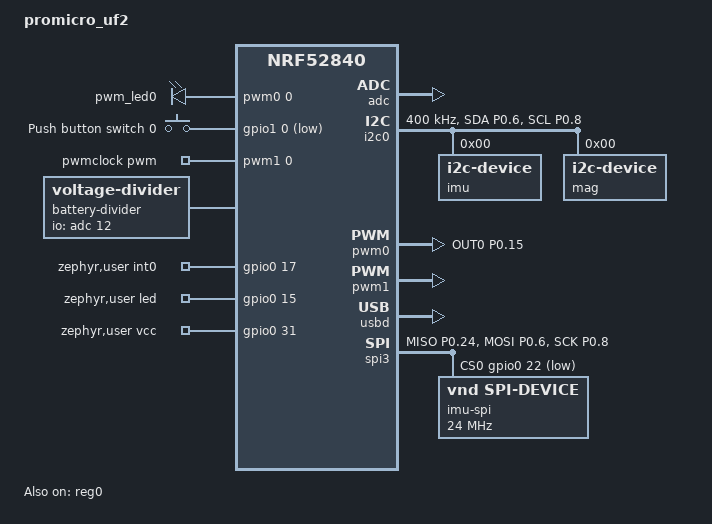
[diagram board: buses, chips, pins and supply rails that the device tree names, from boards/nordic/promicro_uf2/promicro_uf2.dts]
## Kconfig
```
#
# Copyright (c) 2023 Nordic Semiconductor
#
# SPDX-License-Identifier: LicenseRef-Nordic-5-Clause
#

config USE_SLIMENRF_CONSOLE
    bool "Use basic console"
    default y
    help
        Use basic console for commands.

config BATTERY_CHARGER_HAS_NTC
    bool "Battery thermistor"
    help
      Flag for battery NTC thermistor availability.

choice
    prompt "Battery voltage mapping"
    default BATTERY_NO_MAPPING

config BATTERY_USE_REG_BUCK_MAPPING
    bool "Use buck regulator mapping (3.7V battery, DCDC)"
    help
      Use a constant power mapping for battery voltage.
      Preffered for systems with a buck regulator.
      Measured at a system voltage of 3.0V.

config BATTERY_USE_REG_LDO_MAPPING
    bool "Use LDO linear regulator mapping (3.7V battery, LDO)"
    help
      Use a constant current mapping for battery voltage.
      Preferred for systems with a linear regulator.

config BATTERY_NO_MAPPING
    bool "Disable battery voltage mapping"
    help
      Always map to 100% battery. Disables battery monitoring.

endchoice

config BATTERY_LOW_RUNTIME_THRESHOLD
    int "Low battery runtime threshold (ms)"
    default 10800000
    help
      Trigger low battery when estimated runtime falls below threshold.
      If estimated runtime is not available, low battery will trigger under 10% estimated state of charge.

choice
    prompt "Status LED color mapping"
    default LED_TRI_COLOR

config LED_RGB_COLOR
    bool "Use RGB color mapping"
    help
        Use RGB or RG color mapping for LED status if available.

config LED_TRI_COLOR
    bool "Use default color mapping"
    help
        Use the default color mapping for LED status.

endchoice

menu "Status LED default status color"
    depends on LED_RGB_COLOR

config LED_DEFAULT_COLOR_R
    int "Red value"
    range 0 10000
    default 4000
    depends on LED_RGB_COLOR
    help
        Red color for default status.
        Valid range is 0 to 10000.

config LED_DEFAULT_COLOR_G
    int "Green value"
    range 0 10000
    default 6000
    depends on LED_RGB_COLOR
    help
        Green color for default status.
        Valid range is 0 to 10000.

config LED_DEFAULT_COLOR_B
    int "Blue value"
    range 0 10000
    default 0
    depends on LED_RGB_COLOR
    help
        Blue color for default status.
        Valid range is 0 to 10000.

endmenu

config USER_EXTRA_ACTIONS
    bool "Multiple press actions"
    help
        Allow user to use multiple presses to calibrate, pair, or enter DFU.
        By default, pairing is available when holding down sw0 for 5 seconds.
        By default, DFU is available when holding down sw0 and plugging in a USB cable.

config IGNORE_RESET
    bool "Ignore reset"
    default y
    help
        If sw0 is available, don't perform any extra actions on reset.

config USER_SHUTDOWN
    bool "User shutdown support"
    default y
    help
        Allow user to use reset or sw0 to shutdown.

config USE_IMU_WAKE_UP
    bool "IMU wake up support"
    default y
    help
        Use IMU wake up state if IMU wake up is present.

config DELAY_SLEEP_ON_STATUS
    bool "Delay IMU wake up mode on status flags"
    default y
    depends on USE_IMU_WAKE_UP
    help
        Delay IMU wake up state if there is an active status flag or in pairing mode.

config WOM_USE_DCDC
    bool "Use DCDC in IMU wake up mode"
    depends on USE_IMU_WAKE_UP
    help
        Use DCDC instead of LDO in IMU wake up state if it is more efficient.

config CONNECTION_TIMEOUT_DELAY
    int "Connection timeout delay (ms)"
    default 300000
    depends on USER_SHUTDOWN
    help
        Connection timeout duration when receiver is not detected.

choice
    prompt "Sensor rotation"
    default SENSOR_ROTATION_90

config SENSOR_ROTATION_0
    bool "0 degrees"

config SENSOR_ROTATION_90
    bool "90 degrees"

config SENSOR_ROTATION_180
    bool "180 degrees"

config SENSOR_ROTATION_270
    bool "270 degrees"

config SENSOR_ROTATION_0_FLIPPED
    bool "0 degrees flipped"

config SENSOR_ROTATION_90_FLIPPED
    bool "90 degrees flipped"

config SENSOR_ROTATION_180_FLIPPED
    bool "180 degrees flipped"

config SENSOR_ROTATION_270_FLIPPED
    bool "270 degrees flipped"

endchoice

menu "Sensor power saving"

config SENSOR_LP_TIMEOUT
    int "Sensor low power delay (ms)"
    default 500
    help
        Low power timeout during no motion.

config SENSOR_USE_LOW_POWER_2
    bool "Use additional low power modes"
    help
        Use a higher latency sensor mode during no motion.

config USE_IMU_TIMEOUT
    bool "Use IMU wake up state"
    default y
    depends on USE_IMU_WAKE_UP
    help
        Use IMU wake up state during no motion.

config IMU_TIMEOUT_RAMP_MIN
    int "Sensor timeout minimum delay (ms)"
    default 5000
    depends on USE_IMU_TIMEOUT || SENSOR_USE_LOW_POWER_2
    help
        Minimum timeout during no motion. Initial period on wake up.

config IMU_TIMEOUT_RAMP_MAX
    int "Sensor timeout maximum delay (ms)"
    default 15000
    depends on USE_IMU_TIMEOUT || SENSOR_USE_LOW_POWER_2
    help
        Maximum timeout during no motion.

config USE_ACTIVE_TIMEOUT
    bool "Use activity timeout"
    default y
    depends on USE_IMU_WAKE_UP || USER_SHUTDOWN
    help
        Delay IMU wake up state or user shutdown during activity.

choice
    prompt "Activity timeout mode"
    default SLEEP_ON_ACTIVE_TIMEOUT
    depends on USE_ACTIVE_TIMEOUT

config SLEEP_ON_ACTIVE_TIMEOUT
    bool "IMU wake up"
    depends on USE_IMU_WAKE_UP
    help
        Use IMU wake up state when activity timeout elapses.

config SHUTDOWN_ON_ACTIVE_TIMEOUT
    bool "User shutdown"
    depends on USER_SHUTDOWN
    help
        Use user shutdown when activity timeout elapses.

endchoice

config ACTIVE_TIMEOUT_THRESHOLD
    int "Activity timeout threshold (ms)"
    default 15000
    depends on USE_ACTIVE_TIMEOUT
    help
        Trigger activity timeout after a certain threshold of activity.

config ACTIVE_TIMEOUT_DELAY
    int "Activity timeout delay (ms)"
    default 900000
    depends on USE_ACTIVE_TIMEOUT
    help
        Activity timeout duration when triggered.

endmenu

config SENSOR_ACCEL_ODR
    int "Accelerometer output data rate (Hz)"
    default 100
    help
        Requested accelerometer output data rate. Actual rate will be raised to the nearest supported rate.
        A higher rate will increase the time to read and process sensor data.

config SENSOR_GYRO_ODR
    int "Gyrometer output data rate (Hz)"
    default 200
    help
        Requested gyrometer output data rate. Actual rate will be raised to the nearest supported rate.
        A higher rate will increase the time to read and process sensor data.
        A lower rate is recommended for IMUs with poor gyrometer rate noise density. (e.g. BMI270, LSM6DS3TR-C)

config SENSOR_ACCEL_FS
    int "Accelerometer full scale (g)"
    default 4
    help
        Requested accelerometer full scale. Actual scale will be raised to the nearest supported scale.
        A lower scale may improve noise performance, but is more likely to saturate.

config SENSOR_GYRO_FS
    int "Gyrometer full scale (dps)"
    default 1000
    help
        Requested gyrometer full scale. Actual scale will be raised to the nearest supported scale.
        A lower scale may improve noise performance, but is more likely to saturate.

config SENSOR_USE_MAG
    bool "Magnetometer support"
    default y
    help
        Use magnetometer if it is present.

config USE_SENSOR_CLOCK
    bool "Use external IMU clock"
    default y
    help
        Use external IMU clock if it is present.

choice
    prompt "Sensor fusion"
    default SENSOR_USE_VQF
    help
        Select the sensor fusion method.

config SENSOR_USE_VQF
    bool "Use VQF"
    help
        Use VQF for sensor fusion.
        Based on Kalman filter.

endchoice

config SENSOR_USE_6_SIDE_CALIBRATION
    bool "Use 6-side calibration"
    default y
    depends on USE_SLIMENRF_CONSOLE
    help
        Use 6-side calibration for accelerometer.
        Calibration can be completed through the basic console.

config RADIO_TX_POWER
    int "Radio output power (dBm)"
    default 8
    help
        Radio output power level.
        A lower value may reduce power consumption.

config RADIO_1MBPS
    bool "Default for the radio_1mbps setting"
    help
        Send at 1 Mbps instead of 2 Mbps: about 3 dB more range, twice the
        airtime per frame. The receiver must use the same rate ("radio 1m" on
        its console). Change it on a tracker with "write_config radio_1mbps 1"
        and "reboot".

config CONNECTION_OVER_HID
    bool "Use HID for data output"
    help
        Use HID if available.
        Otherwise, use ESB only.

config CONNECTION_OVER_UART
    bool "Default for the connection_over_uart setting (wired chain)"
    help
        Older form of wired_mode, used only while wired_mode is -1: on is
        "in left out right" (wired chain, radio off), off is "in left" (radio
        relay of a wired tracker plugged into the left header). Prefer the
        "mode" console command.

DT_CHOSEN_WIRED_LEFT_UART := slimenrf,wired-left-uart
DT_CHOSEN_WIRED_RIGHT_UART := slimenrf,wired-right-uart

config LOG_MODES
    bool "DEBUG and TRACE console modes"
    default y
    select LOG_RUNTIME_FILTERING
    help
        Console commands "debug" and "trace". The firmware's modules are
        compiled with debug messages, kept at INFO until "debug on".
        "trace" logs every frame handed to the radio, cable or USB, decoded.

config LOG_MODES_DEBUG_DEFAULT
    bool "Start with DEBUG on"
    depends on LOG_MODES

menu "Wired ankle link"

config WIRED_LINK
    bool "Wired link between trackers (roles from the wired_mode setting)"
    depends on $(dt_chosen_enabled,$(DT_CHOSEN_WIRED_LEFT_UART))
    depends on $(dt_chosen_enabled,$(DT_CHOSEN_WIRED_RIGHT_UART))
    select SERIAL
    select UART_ASYNC_API
    select GPIO
    help
        Two headers, "slimenrf,wired-left-uart" and "slimenrf,wired-right-uart",
        each an input, an output or unused (wired_mode, "mode" on the console).
        Both UARTs use zephyr,deferred-init and receive by default; an output
        header gets the "wired-left/right-tx-default/sleep" pin states from zephyr,user.
        With an output the radio stays off and everything goes upstream on the
        wire; without one, frames from the inputs are stamped with their
        receiver ids and sent over ESB with the tracker's own.

config WIRED_MODE
    int "Default for the wired_mode setting"
    depends on WIRED_LINK
    range -1 31
    default -1
    help
        Bits: 1 in left, 2 in right, 4 out left, 8 out right, 16 hub; 0
        wireless, 19 hub (both in, radio receives, output to the ESP32).
        -1 follows the older connection_over_uart setting: on = in left out
        right (wired chain), off = in left (radio relay). Set it on a tracker
        with "mode", e.g. "mode wired in left out right".

config DEBUG_NO_POWER_SAVING
    bool "Debug: no power saving"
    help
        For debugging the link: the tracker never lowers its IMU rate, never
        sleeps or shuts down when lying still or when the receiver does not
        answer, and keeps the radio's HF clock running between frames.
        The low battery shutdown and the button shutdown stay. Built by
        "make tracker-nosleep"; flash the normal image to undo.

config WIRED_RELAY_IDLE_MS
    int "Relay: stop listening after this long without valid frames (ms)"
    depends on WIRED_LINK
    default 1000

config WIRED_RELAY_OWN_RATE_DIVIDER
    int "Relay: while relaying, send only every Nth own data frame"
    depends on WIRED_LINK
    range 1 4
    default 1
    help
        Airtime fallback: 2 halves the relay's own data rate while it relays.

config WIRED_ANKLE_TABLE_SIZE
    int "Relay: number of wired tracker addresses remembered"
    depends on WIRED_LINK
    range 1 8
    default 8

endmenu

source "Kconfig.zephyr"
```

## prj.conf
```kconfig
#CONFIG_NCS_SAMPLES_DEFAULTS
CONFIG_ASSERT=y
CONFIG_ASSERT_NO_COND_INFO=y
CONFIG_ASSERT_NO_MSG_INFO=y
# src/system/crash.c records the crash in retained RAM and resets instead
CONFIG_RESET_ON_FATAL_ERROR=n

CONFIG_NCS_APPLICATION_BOOT_BANNER_STRING="SlimeVR-Tracker-nRF"
#CONFIG_NCS_BOOT_BANNER=n
CONFIG_BOOT_BANNER=n

CONFIG_ESB=y
#need to enable for nRF54L
#CONFIG_NRFX_DPPI10=y

CONFIG_ADC=y
CONFIG_ADC_NRFX_SAADC=y
CONFIG_FPU=y
CONFIG_I2C=y
CONFIG_SPI=y
CONFIG_PINCTRL=y
CONFIG_SENSOR=y

CONFIG_CMSIS_DSP=y
CONFIG_CMSIS_DSP_BASICMATH=y
CONFIG_CMSIS_DSP_CONTROLLER=y
CONFIG_CMSIS_DSP_FASTMATH=y
CONFIG_CMSIS_DSP_SUPPORT=y

CONFIG_NVS=y
CONFIG_NVS_LOOKUP_CACHE=y
CONFIG_NVS_INIT_BAD_MEMORY_REGION=y

CONFIG_POWEROFF=y
CONFIG_REBOOT=y

CONFIG_FLASH=y
CONFIG_FLASH_PAGE_LAYOUT=y
CONFIG_FLASH_MAP=y

CONFIG_SETTINGS=y
CONFIG_SETTINGS_RUNTIME=y
CONFIG_SETTINGS_NONE=y

CONFIG_MPU_ALLOW_FLASH_WRITE=y

CONFIG_RETAINED_MEM=y

CONFIG_USE_SEGGER_RTT=y
CONFIG_LOG=y
#CONFIG_PRINTK=y
CONFIG_LOG_MODE_DEFERRED=y
CONFIG_LOG_SPEED=y
CONFIG_LOG_BACKEND_RTT=y
CONFIG_CBPRINTF_FP_SUPPORT=y
CONFIG_ADC_LOG_LEVEL_OFF=y
CONFIG_LOG_FUNC_NAME_PREFIX_ERR=y
CONFIG_LOG_BUFFER_SIZE=1536
CONFIG_LOG_BACKEND_UART_AUTOSTART=n
CONFIG_LOG_PROCESS_THREAD_SLEEP_MS=50
CONFIG_LOG_PROCESS_THREAD_STACK_SIZE=1024

CONFIG_PWM=y
CONFIG_GPIO=y

CONFIG_CRC=y

CONFIG_NEWLIB_LIBC=y
#deprecated?
#CONFIG_NRFX_TIMER1=y

#speed up boot? (use internal rc oscillator)
CONFIG_CLOCK_CONTROL_NRF_K32SRC_RC=y
CONFIG_CLOCK_CONTROL_NRF_K32SRC_RC_CALIBRATION=n
#speed up boot? (synthesize lf clock)
#CONFIG_CLOCK_CONTROL_NRF_K32SRC_SYNTH=y

# dont need it
CONFIG_CRYPTO=n

# set timeout for 25ms, sufficient for ~1000 bytes
CONFIG_I2C_NRFX_TRANSFER_TIMEOUT=25

CONFIG_USB_DEVICE_HID=y
CONFIG_USB_DEVICE_VID=0x1209
CONFIG_USB_DEVICE_PID=0x7692
CONFIG_USB_HID_BOOT_PROTOCOL=y
CONFIG_USB_DEVICE_INITIALIZE_AT_BOOT=n
CONFIG_USB_CDC_ACM=y
CONFIG_UART_INTERRUPT_DRIVEN=y
CONFIG_USB_WORKQUEUE_STACK_SIZE=512

CONFIG_SERIAL=y
CONFIG_CONSOLE=y
CONFIG_RTT_CONSOLE=y
CONFIG_UART_CONSOLE=y
CONFIG_UART_LINE_CTRL=y
# fit "write all <base64:173>"
CONFIG_CONSOLE_INPUT_MAX_LINE_LEN=256

CONFIG_LOG=y
CONFIG_USB_DRIVER_LOG_LEVEL_ERR=y
CONFIG_USB_DEVICE_LOG_LEVEL_ERR=y
CONFIG_USB_CDC_ACM_LOG_LEVEL_OFF=y

CONFIG_LOG_BACKEND_UART=y

CONFIG_CONSOLE_SUBSYS=y
CONFIG_CONSOLE_GETLINE=y

CONFIG_NVS_LOG_LEVEL_WRN=y
CONFIG_USB_HID_LOG_LEVEL_WRN=y

CONFIG_USB_DEVICE_SOF=y
CONFIG_USB_HID_REPORTS=256

#CONFIG_USB_HID_POLL_INTERVAL_MS=1
CONFIG_USB_HID_POLL_INTERVAL_MS=0
CONFIG_HID_INTERRUPT_EP_MPS=64
#CONFIG_ENABLE_HID_INT_OUT_EP=y

CONFIG_SYSTEM_WORKQUEUE_STACK_SIZE=256
CONFIG_MAIN_STACK_SIZE=512
#crashing on nrf54l at 512

CONFIG_THREAD_NAME=y

CONFIG_HEAP_MEM_POOL_SIZE=2048
CONFIG_ISR_STACK_SIZE=1024

CONFIG_PM_DEVICE=y

CONFIG_BASE64=y

#CONFIG_THREAD_ANALYZER=y
#CONFIG_THREAD_ANALYZER_AUTO=y
#CONFIG_THREAD_ANALYZER_AUTO_INTERVAL=5

#about 20KB saved
#CONFIG_LTO=y
#CONFIG_ISR_TABLES_LOCAL_DECLARATION=y
```

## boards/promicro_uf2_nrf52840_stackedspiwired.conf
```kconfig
# Merged after prj.conf for the wired board (promicro_uf2/nrf52840/stackedspiwired).
# The wired link and hub run UART, pairing and logging work on the system workqueue; the
# 256-byte stack from prj.conf overflowed (reset loops at boot).
CONFIG_SYSTEM_WORKQUEUE_STACK_SIZE=1024
```

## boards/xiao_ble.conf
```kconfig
CONFIG_USB_DEVICE_STACK=y
CONFIG_USB_DEVICE_PRODUCT="SlimeNRF Tracker XIAO"

CONFIG_BATTERY_USE_REG_LDO_MAPPING=y
```

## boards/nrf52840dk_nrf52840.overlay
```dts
&pwm0_default {
	group1 {
		psels = <NRF_PSEL(PWM_OUT0, 0, 13)>,
			<NRF_PSEL(PWM_OUT1, 0, 14)>,
			<NRF_PSEL(PWM_OUT2, 0, 15)>;
		nordic,drive-mode = <NRF_DRIVE_D0S1>;
		nordic,invert;
	};
};

&pwm0_sleep {
	group1 {
		psels = <NRF_PSEL(PWM_OUT0, 0, 13)>,
			<NRF_PSEL(PWM_OUT1, 0, 14)>,
			<NRF_PSEL(PWM_OUT2, 0, 15)>;
	};
};

&i2c0_default {
	group1 {
		bias-disable;
	};
};

&i2c0_sleep {
	group1 {
		bias-disable;
	};
};

/ {
	chosen {
		zephyr,console = &cdc_acm_uart0;
		zephyr,shell-uart = &cdc_acm_uart0;
	};

	pwmleds {
		pwm_led1: pwm_led_1 {
			pwms = <&pwm0 1 PWM_MSEC(20) PWM_POLARITY_INVERTED>;
		};
		pwm_led2: pwm_led_2 {
			pwms = <&pwm0 2 PWM_MSEC(20) PWM_POLARITY_INVERTED>;
		};
	};

	battery-divider {
		compatible = "voltage-divider";
		status = "okay";
		io-channels = <&adc 12>; // Measure VDDHDIV5
		output-ohms = <1>;
		full-ohms = <2>;
	};

	aliases {
		pwm-led1 = &pwm_led1;
		pwm-led2 = &pwm_led2;
	};
};

&i2c0 {
	compatible = "nordic,nrf-twim";
	zephyr,concat-buf-size = <1023>;
	zephyr,flash-buf-max-size = <1023>;
	clock-frequency = <I2C_BITRATE_FAST>;

	imu: imu@0 { // any address out of range (00, 7f, etc. will search all addresses and stored address first if available, specify an address here to search first otherwise
		compatible = "i2c-device";
		label = "imu";
		reg = <0>;
	};

	mag: mag@0 {
		compatible = "i2c-device";
		label = "mag";
		reg = <0>;
	};

};

arduino_spi: &spi3 {
	imu_spi: imu_spi@0 {
		compatible = "vnd,spi-device";
		spi-max-frequency = <DT_FREQ_M(32)>;
		label = "imu-spi";
		reg = <0>;
	};
};

zephyr_udc0: &usbd {
	cdc_acm_uart0: cdc_acm_uart0 {
		compatible = "zephyr,cdc-acm-uart";
	};
};
```

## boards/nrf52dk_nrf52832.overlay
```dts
&pwm0_default {
	group1 {
		psels = <NRF_PSEL(PWM_OUT0, 0, 13)>,
			<NRF_PSEL(PWM_OUT1, 0, 14)>,
			<NRF_PSEL(PWM_OUT2, 0, 15)>;
		nordic,drive-mode = <NRF_DRIVE_D0S1>;
		nordic,invert;
	};
};

&pwm0_sleep {
	group1 {
		psels = <NRF_PSEL(PWM_OUT0, 0, 13)>,
			<NRF_PSEL(PWM_OUT1, 0, 14)>,
			<NRF_PSEL(PWM_OUT2, 0, 15)>;
	};
};

/ {
	pwmleds {
		pwm_led1: pwm_led_1 {
			pwms = <&pwm0 1 PWM_MSEC(20) PWM_POLARITY_INVERTED>;
		};
		pwm_led2: pwm_led_2 {
			pwms = <&pwm0 2 PWM_MSEC(20) PWM_POLARITY_INVERTED>;
		};
	};

	battery-divider {
		compatible = "voltage-divider";
		status = "okay";
		io-channels = <&adc 12>; // Measure VDDHDIV5
		output-ohms = <1>;
		full-ohms = <2>;
	};

	aliases {
		pwm-led1 = &pwm_led1;
		pwm-led2 = &pwm_led2;
	};
};

&i2c0 {
	compatible = "nordic,nrf-twim";
	zephyr,concat-buf-size = <255>; // probable max for nrf52832
	zephyr,flash-buf-max-size = <255>; // probable max for nrf52832
	clock-frequency = <I2C_BITRATE_FAST>;

	imu: imu@0 { // any address out of range (00, 7f, etc. will search all addresses and stored address first if available, specify an address here to search first otherwise
		compatible = "i2c-device";
		label = "imu";
		reg = <0>;
	};

	mag: mag@0 {
		compatible = "i2c-device";
		label = "mag";
		reg = <0>;
	};

};

arduino_spi: &spi3 {
	imu_spi: imu_spi@0 {
		compatible = "vnd,spi-device";
		spi-max-frequency = <DT_FREQ_M(32)>;
		label = "imu-spi";
		reg = <0>;
	};
};
```

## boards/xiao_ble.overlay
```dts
&i2c1_default {
	group1 {
		bias-disable;
	};
};

&i2c1_sleep {
	group1 {
		bias-disable;
	};
};

&pwm0_default {
	group1 {
		psels = <NRF_PSEL(PWM_OUT0, 0, 26)>,
			<NRF_PSEL(PWM_OUT1, 0, 30)>,
			<NRF_PSEL(PWM_OUT2, 0, 6)>;
		nordic,drive-mode = <NRF_DRIVE_D0S1>;
		nordic,invert;
	};
};

&pwm0_sleep {
	group1 {
		psels = <NRF_PSEL(PWM_OUT0, 0, 26)>,
			<NRF_PSEL(PWM_OUT1, 0, 30)>,
			<NRF_PSEL(PWM_OUT2, 0, 6)>;
	};
};

/ {
	pwmleds {
		pwm_led0: pwm_led_0 {
			pwms = <&pwm0 0 PWM_MSEC(1) PWM_POLARITY_INVERTED>;
		};
		pwm_led1: pwm_led_1 {
			pwms = <&pwm0 1 PWM_MSEC(1) PWM_POLARITY_INVERTED>;
		};
		pwm_led2: pwm_led_2 {
			pwms = <&pwm0 2 PWM_MSEC(1) PWM_POLARITY_INVERTED>;
		};
	};

	buttons {
		compatible = "gpio-keys";
		button0: button_0 {
			gpios = <&gpio0 2 (GPIO_PULL_UP | GPIO_ACTIVE_LOW)>;
			label = "Push button switch 0";
		};
	};

	aliases {
		// sw0 = &button0; // Uncomment to Enable SW0
		pwm-led1 = &pwm_led1;
		pwm-led2 = &pwm_led2;
	};

	battery-divider {
        compatible = "voltage-divider";
        status = "okay";
        io-channels = <&adc 7>;
        output-ohms = <510000>;
        full-ohms = <(1000000+510000)>;
        power-gpios = <&gpio0 14 (GPIO_OPEN_DRAIN|GPIO_ACTIVE_LOW)>;
	};

	zephyr,user {
		int0-gpios = <&gpio0 3 0>;
		led-gpios = <&gpio0 17 (GPIO_OPEN_DRAIN|GPIO_ACTIVE_LOW)>;
		// clk-gpios = <&gpio0 28 GPIO_OPEN_DRAIN>; // Uncomment and set to correct pin if using an external clock (crystal oscillator)
	};

};

/delete-node/ &uart0;

&i2c1 {
	compatible = "nordic,nrf-twim";
	zephyr,concat-buf-size = <1023>;
	zephyr,flash-buf-max-size = <1023>;
	clock-frequency = <I2C_BITRATE_FAST>;

	imu: imu@0 { // any address out of range (00, 7f, etc. will search all addresses and stored address first if available, specify an address here to search first otherwise
		compatible = "i2c-device";
		label = "imu";
		reg = <0>;
	};

	mag: mag@0 {
		compatible = "i2c-device";
		label = "mag";
		reg = <0>;
	};

};

/delete-node/ &spi2;
/delete-node/ &qspi;

&spi3 {
	compatible = "nordic,nrf-spim";
	status = "okay";
	max-frequency = <DT_FREQ_M(24)>;
	pinctrl-0 = <&spi2_default>;
	pinctrl-1 = <&spi2_sleep>;
	pinctrl-names = "default", "sleep";
	cs-gpios = <&gpio1 12 GPIO_ACTIVE_LOW>;

	imu_spi: imu_spi@0 {
		compatible = "vnd,spi-device";
		spi-max-frequency = <DT_FREQ_M(24)>;
		label = "imu-spi";
		reg = <0>;
	};
};

/delete-node/ &cryptocell;
/delete-node/ &nfct;
```

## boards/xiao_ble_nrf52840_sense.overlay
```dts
&i2c0_default {
	group1 {
		bias-disable;
	};
};

&i2c0_sleep {
	group1 {
		bias-disable;
	};
};

&pwm0_default {
	group1 {
		psels = <NRF_PSEL(PWM_OUT0, 0, 26)>,
			<NRF_PSEL(PWM_OUT1, 0, 30)>,
			<NRF_PSEL(PWM_OUT2, 0, 6)>;
		nordic,drive-mode = <NRF_DRIVE_D0S1>;
		nordic,invert;
	};
};

&pwm0_sleep {
	group1 {
		psels = <NRF_PSEL(PWM_OUT0, 0, 26)>,
			<NRF_PSEL(PWM_OUT1, 0, 30)>,
			<NRF_PSEL(PWM_OUT2, 0, 6)>;
	};
};

/ {
	pwmleds {
		pwm_led0: pwm_led_0 {
			pwms = <&pwm0 0 PWM_MSEC(1) PWM_POLARITY_INVERTED>;
		};
		pwm_led1: pwm_led_1 {
			pwms = <&pwm0 1 PWM_MSEC(1) PWM_POLARITY_INVERTED>;
		};
		pwm_led2: pwm_led_2 {
			pwms = <&pwm0 2 PWM_MSEC(1) PWM_POLARITY_INVERTED>;
		};
	};

	lsm6ds3tr-c-en {
		startup-delay-us = <0>;
	};

	buttons {
		compatible = "gpio-keys";
		button0: button_0 {
			gpios = <&gpio0 2 (GPIO_PULL_UP | GPIO_ACTIVE_LOW)>;
			label = "Push button switch 0";
		};
	};

	aliases {
		// sw0 = &button0; // Uncomment to Enable SW0
		pwm-led1 = &pwm_led1;
		pwm-led2 = &pwm_led2;
	};

	battery-divider {
        compatible = "voltage-divider";
        status = "okay";
        io-channels = <&adc 7>;
        output-ohms = <510000>;
        full-ohms = <(1000000+510000)>;
        power-gpios = <&gpio0 14 (GPIO_OPEN_DRAIN|GPIO_ACTIVE_LOW)>;
	};

	zephyr,user {
		int0-gpios = <&gpio0 11 0>;
		led-gpios = <&gpio0 17 (GPIO_OPEN_DRAIN|GPIO_ACTIVE_LOW)>;
	};

};

/delete-node/ &uart0;

&i2c0 {
	zephyr,concat-buf-size = <1023>;
	zephyr,flash-buf-max-size = <1023>;

	imu: imu@0 { // any address out of range (00, 7f, etc. will search all addresses and stored address first if available, specify an address here to search first otherwise
		compatible = "i2c-device";
		label = "imu";
		reg = <0>;
	};

};

/delete-node/ &i2c1;
/delete-node/ &spi2;
/delete-node/ &qspi;
/delete-node/ &cryptocell;
/delete-node/ &nfct;

&lsm6ds3tr_c {
	status = "disabled";
	/delete-property/ irq-gpios;
};
```

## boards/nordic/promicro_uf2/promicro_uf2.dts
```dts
// Copyright (c) 2024 Nordic Semiconductor ASA
// SPDX-License-Identifier: Apache-2.0

/dts-v1/;
#include <nordic/nrf52840_qiaa.dtsi>

//move to dtsi?
&pinctrl {
	i2c0_default: i2c0_default {
		group1 {
			psels = <NRF_PSEL(TWIM_SDA, 0, 6)>, <NRF_PSEL(TWIM_SCL, 0, 8)>;
			bias-disable;
		};
	};

	i2c0_sleep: i2c0_sleep {
		group1 {
			psels = <NRF_PSEL(TWIM_SDA, 0, 6)>, <NRF_PSEL(TWIM_SCL, 0, 8)>;
			bias-disable;
			low-power-enable;
		};
	};

	pwm0_default: pwm0_default {
		group1 {
			psels = <NRF_PSEL(PWM_OUT0, 0, 15)>;
			nordic,drive-mode = <NRF_DRIVE_D0S1>;
		};
	};

	pwm0_sleep: pwm0_sleep {
		group1 {
			psels = <NRF_PSEL(PWM_OUT0, 0, 15)>;
			low-power-enable;
		};
	};

	pwm1_default: pwm1_default {
		group1 {
			psels = <NRF_PIN_DISCONNECTED>;
		};
	};

	pwm1_sleep: pwm1_sleep {
		group1 {
			psels = <NRF_PIN_DISCONNECTED>;
			low-power-enable;
		};
	};

	spi3_default: spi3_default {
		group1 {
			psels = <NRF_PSEL(SPIM_MISO, 0, 24)>,
					<NRF_PSEL(SPIM_MOSI, 0, 6)>,
					<NRF_PSEL(SPIM_SCK, 0, 8)>;
		};
	};

	spi3_sleep: spi3_sleep {
		group1 {
			psels = <NRF_PSEL(SPIM_MISO, 0, 24)>,
					<NRF_PSEL(SPIM_MOSI, 0, 6)>,
					<NRF_PSEL(SPIM_SCK, 0, 8)>;
			low-power-enable;
		};
	};
};
//end

/ {
	model = "promicro_uf2";
	compatible = "promicro_uf2";

	chosen {
		zephyr,sram = &sram0;
		zephyr,flash = &flash0;
		zephyr,console = &cdc_acm_uart0;
		zephyr,shell-uart = &cdc_acm_uart0;
	};

	pwmleds {
		compatible = "pwm-leds";
		pwm_led0: pwm_led_0 {
			pwms = <&pwm0 0 PWM_MSEC(1) PWM_POLARITY_NORMAL>;
		};
	};

	buttons {
		compatible = "gpio-keys";
		button0: button_0 {
			gpios = <&gpio1 0 (GPIO_PULL_UP | GPIO_ACTIVE_LOW)>;
			label = "Push button switch 0";
		};
	};

	aliases {
		// sw0 = &button0; // Uncomment to Enable SW0
		pwm-led0 = &pwm_led0;
	};

	pwmclock: pwmclock {
		compatible = "pwm-clock";
		#clock-cells = <1>;
		pwms = <&pwm1 0 PWM_HZ(32768) PWM_POLARITY_NORMAL>;
	};

	battery-divider {
		compatible = "voltage-divider";
		status = "okay";
		io-channels = <&adc 12>; // Measure VDDHDIV5
		output-ohms = <1>;
		full-ohms = <5>;
	};

	zephyr,user {
		int0-gpios = <&gpio0 17 0>;
		led-gpios = <&gpio0 15 GPIO_OPEN_SOURCE>;
		// clk-gpios = <&gpio0 20 GPIO_OPEN_DRAIN>; // Uncomment and set to correct pin if using an external clock (crystal oscillator)
		vcc-gpios = <&gpio0 31 0>;
	};

};

&reg0 {
	status = "okay";
};

&reg1 {
	regulator-initial-mode = <NRF5X_REG_MODE_DCDC>;
};

&adc {
	status = "okay";
};

&gpiote {
	status = "okay";
};

&gpio0 {
	status = "okay";
};

&gpio1 {
	status = "okay";
};

&i2c0 {
	compatible = "nordic,nrf-twim";
	status = "okay";
	zephyr,concat-buf-size = <1023>;
	zephyr,flash-buf-max-size = <1023>;
	clock-frequency = <I2C_BITRATE_FAST>;
	pinctrl-0 = <&i2c0_default>;
	pinctrl-1 = <&i2c0_sleep>;
	pinctrl-names = "default", "sleep";

	imu: imu@0 { // any address out of range (00, 7f, etc. will search all addresses and stored address first if available, specify an address here to search first otherwise
		compatible = "i2c-device";
		label = "imu";
		reg = <0>;
	};

	mag: mag@0 {
		compatible = "i2c-device";
		label = "mag";
		reg = <0>;
	};

};

&pwm0 {
	status = "okay";
	pinctrl-0 = <&pwm0_default>;
	pinctrl-1 = <&pwm0_sleep>;
	pinctrl-names = "default", "sleep";
};

&pwm1 {
	status = "okay";
	pinctrl-0 = <&pwm1_default>;
	pinctrl-1 = <&pwm1_sleep>;
	pinctrl-names = "default", "sleep";
};

zephyr_udc0: &usbd {
	compatible = "nordic,nrf-usbd";
	status = "okay";
	cdc_acm_uart0: cdc_acm_uart0 {
		compatible = "zephyr,cdc-acm-uart";
	};
};

&cryptocell {
	status = "disabled";
};

&nfct {
	status = "disabled";
};

&spi3 {
	compatible = "nordic,nrf-spim";
	status = "okay";
	max-frequency = <DT_FREQ_M(24)>;
	pinctrl-0 = <&spi3_default>;
	pinctrl-1 = <&spi3_sleep>;
	pinctrl-names = "default", "sleep";
	cs-gpios = <&gpio0 22 GPIO_ACTIVE_LOW>;

	imu_spi: imu_spi@0 {
		compatible = "vnd,spi-device";
		spi-max-frequency = <DT_FREQ_M(24)>;
		label = "imu-spi";
		reg = <0>;
	};
};
```

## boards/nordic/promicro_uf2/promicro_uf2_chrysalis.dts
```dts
// Copyright (c) 2024 Nordic Semiconductor ASA
// SPDX-License-Identifier: Apache-2.0

/dts-v1/;
#include "promicro_uf2.dts"

&pwm0_default {
	group1 {
		psels = <NRF_PSEL(PWM_OUT0, 0, 2)>, // Red
				<NRF_PSEL(PWM_OUT1, 1, 15)>, // Green
				<NRF_PSEL(PWM_OUT2, 0, 29)>; // Blue
		nordic,drive-mode = <NRF_DRIVE_S0S1>;
		nordic,invert;
	};
};

&pwm0_sleep {
	group1 {
		psels = <NRF_PSEL(PWM_OUT0, 0, 2)>, // Red
				<NRF_PSEL(PWM_OUT1, 1, 15)>, // Green
				<NRF_PSEL(PWM_OUT2, 0, 29)>; // Blue
		low-power-enable;
	};
};

/ {
	pwmleds {
		/delete-node/ pwm_led_0;
		pwm_led0: pwm_led_0 {
			pwms = <&pwm0 0 PWM_MSEC(1) PWM_POLARITY_INVERTED>; // Red
		};
		pwm_led1: pwm_led_1 {
			pwms = <&pwm0 1 PWM_MSEC(1) PWM_POLARITY_INVERTED>; // Green
		};
		pwm_led2: pwm_led_2 {
			pwms = <&pwm0 2 PWM_MSEC(1) PWM_POLARITY_INVERTED>; // Blue
		};
	};

	leds {
		compatible = "gpio-leds";
		led0: led_0 {
			gpios = <&gpio0 2 GPIO_ACTIVE_LOW>; // Red
		};
		led1: led_1 {
			gpios = <&gpio1 15 GPIO_ACTIVE_LOW>; // Green
		};
		led2: led_2 {
			gpios = <&gpio0 29 GPIO_ACTIVE_LOW>; // Blue
		};
	};

	aliases {
		sw0 = &button0;
		pwm-led0 = &pwm_led0; // Red
		pwm-led1 = &pwm_led1; // Green
		pwm-led2 = &pwm_led2; // Blue
		led0 = &led0; // Red
		led1 = &led1; // Green
		led2 = &led2; // Blue
	};

	zephyr,user {
		clk-gpios = <&gpio0 20 GPIO_OPEN_DRAIN>;
		/delete-property/ led-gpios;
	};
};
```

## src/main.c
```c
/*
	SlimeVR Code is placed under the MIT license
	Copyright (c) 2025 SlimeVR Contributors

	Permission is hereby granted, free of charge, to any person obtaining a copy
	of this software and associated documentation files (the "Software"), to deal
	in the Software without restriction, including without limitation the rights
	to use, copy, modify, merge, publish, distribute, sublicense, and/or sell
	copies of the Software, and to permit persons to whom the Software is
	furnished to do so, subject to the following conditions:

	The above copyright notice and this permission notice shall be included in
	all copies or substantial portions of the Software.

	THE SOFTWARE IS PROVIDED "AS IS", WITHOUT WARRANTY OF ANY KIND, EXPRESS OR
	IMPLIED, INCLUDING BUT NOT LIMITED TO THE WARRANTIES OF MERCHANTABILITY,
	FITNESS FOR A PARTICULAR PURPOSE AND NONINFRINGEMENT. IN NO EVENT SHALL THE
	AUTHORS OR COPYRIGHT HOLDERS BE LIABLE FOR ANY CLAIM, DAMAGES OR OTHER
	LIABILITY, WHETHER IN AN ACTION OF CONTRACT, TORT OR OTHERWISE, ARISING FROM,
	OUT OF OR IN CONNECTION WITH THE SOFTWARE OR THE USE OR OTHER DEALINGS IN
	THE SOFTWARE.
*/
#include "globals.h"
#include "system/system.h"
//#include "timer.h"
#include "connection/esb.h"
#include "sensor/sensor.h"

#include <zephyr/sys/reboot.h>

#define DFU_DBL_RESET_MEM 0x20007F7C
#define DFU_DBL_RESET_APP 0x4ee5677e

static uint32_t *dbl_reset_mem __attribute__((unused)) = ((uint32_t *)DFU_DBL_RESET_MEM); // retained

LOG_MODULE_REGISTER(main, LOG_LEVEL_DBG);

#if DT_NODE_HAS_PROP(DT_ALIAS(sw0), gpios)
#define BUTTON_EXISTS true
#endif

#define DFU_EXISTS CONFIG_BUILD_OUTPUT_UF2 || CONFIG_BOARD_HAS_NRF5_BOOTLOADER
#define ADAFRUIT_BOOTLOADER CONFIG_BUILD_OUTPUT_UF2

int main(void)
{
#ifdef NRF_RESET
	bool reset_pin_reset = NRF_RESET->RESETREAS & RESET_RESETREAS_RESETPIN_Msk;
	NRF_RESET->RESETREAS = NRF_RESET->RESETREAS; // Clear RESETREAS
#else
	bool reset_pin_reset = NRF_POWER->RESETREAS & POWER_RESETREAS_RESETPIN_Msk;
	NRF_POWER->RESETREAS = NRF_POWER->RESETREAS; // Clear RESETREAS
#endif

#if BUTTON_EXISTS
	if (CONFIG_0_SETTINGS_READ(CONFIG_0_IGNORE_RESET))
		reset_pin_reset = false;
#endif

	set_led(SYS_LED_PATTERN_ONESHOT_WAKE, SYS_LED_PRIORITY_BOOT); // Boot LED

	uint8_t reboot_counter = reboot_counter_read();
	bool booting_from_shutdown = !reboot_counter && (reset_pin_reset || button_read()); // 0 means from user shutdown or failed ram validation

	/* if button is not held after booting from shutdown, power off again
	 * if button press is normal, continue boot
	 * if button is held for 1 second, reset pairing and continue boot
	 * if button is held but tracker was waking (not booting from shutdown) ignore the press // TODO: should it pass on to regular handler (e.g. intent to shutdown)
	 */

	if (booting_from_shutdown)
	{
		set_led(SYS_LED_PATTERN_ONESHOT_POWERON, SYS_LED_PRIORITY_BOOT);
		if (button_read())
		{
			set_status(SYS_STATUS_BUTTON_PRESSED, true); // prevent going to sleep while still holding
			int64_t start_time = k_uptime_get();
			while (button_read())
			{
				if (k_uptime_get() - start_time > 1000)
				{
					LOG_INF("Pairing requested");
					esb_reset_pair();
					break;
				}
				k_msleep(1);
			}
			if (CONFIG_0_SETTINGS_READ(CONFIG_0_USER_SHUTDOWN) && k_uptime_get() - start_time < 50) // debounce // TODO: does sense pin stay configured?
				sys_request_system_silent_off(false);
			set_status(SYS_STATUS_BUTTON_PRESSED, false);
		}
	}

	bool docked = dock_read();

	uint8_t reset_mode = -1;

	if (reboot_counter == 0)
		reboot_counter = 100;
	else if (reboot_counter > 200)
		reboot_counter = 200; // How did you get here
	reset_mode = reboot_counter - 100;
	if (reset_pin_reset && !docked) // Count pin resets while not docked
	{
		reboot_counter++;
		reboot_counter_write(reboot_counter);
		LOG_INF("Reset count: %u", reboot_counter);
#if ADAFRUIT_BOOTLOADER
#if BUTTON_EXISTS
		if (!CONFIG_0_SETTINGS_READ(CONFIG_0_IGNORE_RESET))
			(*dbl_reset_mem) = DFU_DBL_RESET_APP; // Using Adafruit bootloader, skip DFU if reset button could be used
#else
		(*dbl_reset_mem) = DFU_DBL_RESET_APP; // Using Adafruit bootloader, skip DFU since reset button is used
#endif
#endif
		k_msleep(1000); // Wait before clearing counter and continuing
	}
	reboot_counter_write(100);
	if (!reset_pin_reset && reset_mode == 0) // Only need to check once, if the button is pressed again an interrupt is triggered from before
		reset_mode = -1; // Cancel reset_mode (shutdown)

	if (CONFIG_0_SETTINGS_READ(CONFIG_0_USER_SHUTDOWN))
	{
		bool charging = chg_read();
		bool charged = stby_read();
		bool plugged = vin_read();

		if (reset_mode == 0 && !booting_from_shutdown && !charging && !charged && !plugged) // Reset mode user shutdown, only if unplugged and undocked
			sys_user_shutdown();
	}

	sys_reset_mode(reset_mode);

	return 0;
}
```

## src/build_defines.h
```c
/*
	SlimeVR Code is placed under the MIT license
	Copyright (c) 2025 SlimeVR Contributors

	Permission is hereby granted, free of charge, to any person obtaining a copy
	of this software and associated documentation files (the "Software"), to deal
	in the Software without restriction, including without limitation the rights
	to use, copy, modify, merge, publish, distribute, sublicense, and/or sell
	copies of the Software, and to permit persons to whom the Software is
	furnished to do so, subject to the following conditions:

	The above copyright notice and this permission notice shall be included in
	all copies or substantial portions of the Software.

	THE SOFTWARE IS PROVIDED "AS IS", WITHOUT WARRANTY OF ANY KIND, EXPRESS OR
	IMPLIED, INCLUDING BUT NOT LIMITED TO THE WARRANTIES OF MERCHANTABILITY,
	FITNESS FOR A PARTICULAR PURPOSE AND NONINFRINGEMENT. IN NO EVENT SHALL THE
	AUTHORS OR COPYRIGHT HOLDERS BE LIABLE FOR ANY CLAIM, DAMAGES OR OTHER
	LIABILITY, WHETHER IN AN ACTION OF CONTRACT, TORT OR OTHERWISE, ARISING FROM,
	OUT OF OR IN CONNECTION WITH THE SOFTWARE OR THE USE OR OTHER DEALINGS IN
	THE SOFTWARE.
*/
#include "sensor/sensors_enum.h"
#include "system/status.h"

#include "app_version.h"

#ifdef CONFIG_NCS_APPLICATION_BOOT_BANNER_STRING
#define FW_NAME CONFIG_NCS_APPLICATION_BOOT_BANNER_STRING
#else
#define FW_NAME "SlimeNRF Tracker"
#endif
#define FW_VERSION_MAJOR APP_VERSION_MAJOR
#define FW_VERSION_MINOR APP_VERSION_MINOR
#define FW_VERSION_PATCH APP_PATCHLEVEL

static uint8_t get_server_constant_imu_id(int id) __attribute__((unused));
static uint8_t get_server_constant_mag_id(int id) __attribute__((unused));
static uint8_t get_server_constant_tracker_status(int status) __attribute__((unused));

// constants from server, should include BoardType, MCUType, IMUType, MagType (not yet)
// https://github.com/SlimeVR/SlimeVR-Server/blob/main/server/core/src/main/java/dev/slimevr/tracking/trackers/udp/FirmwareConstants.kt
#define SVR_IMU_UNKNOWN 0
#define SVR_IMU_MPU9250 1
#define SVR_IMU_MPU6500 2
#define SVR_IMU_BNO080 3
#define SVR_IMU_BNO085 4
#define SVR_IMU_BNO055 5
#define SVR_IMU_MPU6050 6
#define SVR_IMU_BNO086 7
#define SVR_IMU_BMI160 8
#define SVR_IMU_ICM20948 9
#define SVR_IMU_ICM42688 10
#define SVR_IMU_BMI270 11
#define SVR_IMU_LSM6DS3TRC 12
#define SVR_IMU_LSM6DSV 13
#define SVR_IMU_LSM6DSO 14
#define SVR_IMU_LSM6DSR 15
#define SVR_IMU_ICM45686 16
#define SVR_IMU_ICM45605 17
#define SVR_IMU_ADC_RESISTANCE 18
#define SVR_IMU_DEV_RESERVED 250

#define SVR_BOARD_UNKNOWN 0
#define SVR_BOARD_SLIMEVR_LEGACY 1
#define SVR_BOARD_SLIMEVR_DEV 2
#define SVR_BOARD_NODEMCU 3
#define SVR_BOARD_CUSTOM 4
#define SVR_BOARD_WROOM32 5
#define SVR_BOARD_WEMOSD1MINI 6
#define SVR_BOARD_TTGO_TBASE 7
#define SVR_BOARD_ESP01 8
#define SVR_BOARD_SLIMEVR 9
#define SVR_BOARD_LOLIN_C3_MINI 10
#define SVR_BOARD_BEETLE32C32 11
#define SVR_BOARD_ES32C3DEVKITM1 12
#define SVR_BOARD_OWOTRACK 13
#define SVR_BOARD_WRANGLER 14
#define SVR_BOARD_MOCOPI 15
#define SVR_BOARD_WEMOSWROOM02 16
#define SVR_BOARD_XIAO_ESP32C3 17
#define SVR_BOARD_HARITORA 18
#define SVR_BOARD_ESP32C6DEVKITC1 19
#define SVR_BOARD_GLOVE_IMU_SLIMEVR_DEV 20
#define SVR_BOARD_DEV_RESERVED 250

#define SVR_MCU_UNKNOWN 0
#define SVR_MCU_ESP8266 1
#define SVR_MCU_ESP32 2
#define SVR_MCU_OWOTRACK_ANDROID 3
#define SVR_MCU_WRANGLER 4
#define SVR_MCU_OWOTRACK_IOS 5
#define SVR_MCU_ESP32_C3 6
#define SVR_MCU_MOCOPI 7
#define SVR_MCU_HARITORA 8
#define SVR_MCU_DEV_RESERVED 250

#define SVR_MAG_STATUS_NOT_SUPPORTED 0
#define SVR_MAG_STATUS_DISABLED 1
#define SVR_MAG_STATUS_ENABLED 2

// https://github.com/SlimeVR/SlimeVR-Server/blob/main/server/core/src/main/java/dev/slimevr/tracking/trackers/TrackerStatus.kt
#define SVR_STATUS_DISCONNECTED 0
#define SVR_STATUS_OK 1
#define SVR_STATUS_BUSY 2
#define SVR_STATUS_ERROR 3
#define SVR_STATUS_OCCLUDED 4
#define SVR_STATUS_TIMED_OUT 5

// does not exist in server enums yet
#if CONFIG_BOARD_NRF52DK
#define FW_BOARD 0
#elif CONFIG_BOARD_NRF54L15DK
#define FW_BOARD 0
#elif CONFIG_BOARD_NRF5340DK
#define FW_BOARD 0
#elif CONFIG_BOARD_NRF52840DK
#define FW_BOARD 0
#elif CONFIG_BOARD_NRF52840DONGLE
#define FW_BOARD 0
#elif CONFIG_BOARD_SLIMENRF_R1
#define FW_BOARD 0
#elif CONFIG_BOARD_SLIMENRF_R2
#define FW_BOARD 0
#elif CONFIG_BOARD_SLIMENRF_R3 || CONFIG_BOARD_SLIMENRF_R3_UF2
#define FW_BOARD 0
#elif CONFIG_BOARD_SLIMEVRMINI_P1_UF2
#define FW_BOARD 0
#elif CONFIG_BOARD_SLIMEVRMINI_P2_UF2
#define FW_BOARD 0
#elif CONFIG_BOARD_SUPERMINI_UF2
#define FW_BOARD 0
#elif CONFIG_BOARD_XIAO_BLE
#define FW_BOARD 0
#else
#define FW_BOARD 0
#endif

// does not exist in server enums yet
#if CONFIG_SOC_NRF54L15
#define FW_MCU 0
#elif CONFIG_SOC_NRF54L10
#define FW_MCU 0
#elif CONFIG_SOC_NRF54L05
#define FW_MCU 0
#elif CONFIG_SOC_NRF5340
#define FW_MCU 0
#elif CONFIG_SOC_NRF52840
#define FW_MCU 0
#elif CONFIG_SOC_NRF52833
#define FW_MCU 0
#elif CONFIG_SOC_NRF52820
#define FW_MCU 0
#elif CONFIG_SOC_NRF52811
#define FW_MCU 0
#elif CONFIG_SOC_NRF52810
#define FW_MCU 0
#elif CONFIG_SOC_NRF52832
#define FW_MCU 0
#elif CONFIG_SOC_NRF52805
#define FW_MCU 0
#else
#define FW_MCU 0
#endif

static uint8_t get_server_constant_imu_id(int id)
{
	switch (id)
	{
	case IMU_BMI160:
		return SVR_IMU_BMI160;
	case IMU_BMI270:
		return SVR_IMU_BMI270;
	case IMU_BMI323:
		return 0;
	case IMU_MPU6050:
		return SVR_IMU_MPU6050;
	case IMU_MPU6500:
		return SVR_IMU_MPU6500;
	case IMU_MPU9250:
		return SVR_IMU_MPU9250;
	case IMU_ICM20948:
		return SVR_IMU_ICM20948;
	case IMU_ICM42688:
		return SVR_IMU_ICM42688;
	case IMU_ICM45686:
		return SVR_IMU_ICM45686;
	case IMU_ISM330IS:
		return 0;
	case IMU_LSM6DS3:
		return 0;
	case IMU_LSM6DSM:
		return SVR_IMU_LSM6DS3TRC;
	case IMU_LSM6DSR:
		return SVR_IMU_LSM6DSR;
	case IMU_LSM6DSO:
		return SVR_IMU_LSM6DSO;
	case IMU_LSM6DST:
		return 0;
	case IMU_LSM6DSV:
		return SVR_IMU_LSM6DSV;
	case IMU_ISM330BX:
		return SVR_IMU_LSM6DSV; // not really
	default:
		return SVR_IMU_UNKNOWN;
	}
}

// does not exist in server enums yet
#if CONFIG_SENSOR_USE_MAG
#define SVR_MAG_STATUS SVR_MAG_STATUS_ENABLED
#else
#define SVR_MAG_STATUS SVR_MAG_STATUS_DISABLED
#endif
static uint8_t get_server_constant_mag_id(int id)
{
	if (id < 0)
		return SVR_MAG_STATUS_NOT_SUPPORTED;
	else
		return SVR_MAG_STATUS; // TODO: toggle from server
//	switch (id)
//	{
//	case MAG_HMC5883L:
//		return 0;
//	case MAG_QMC5883L:
//		return 0;
//	case MAG_AK8963:
//		return 0;
//	case MAG_AK09916:
//		return 0;
//	case MAG_AK09940:
//		return 0;
//	case MAG_BMM150:
//		return 0;
//	case MAG_BMM350:
//		return 0;
//	case MAG_IST8306:
//		return 0;
//	case MAG_IST8308:
//		return 0;
//	case MAG_IST8320:
//		return 0;
//	case MAG_IST8321:
//		return 0;
//	case MAG_LIS2MDL:
//		return 0;
//	case MAG_LIS3MDL:
//		return 0;
//	case MAG_MMC34160PJ:
//		return 0;
//	case MAG_MMC3630KJ:
//		return 0;
//	case MAG_MMC5633NJL:
//		return 0;
//	case MAG_MMC5616WA:
//		return 0;
//	case MAG_MMC5983MA:
//		return 0;
//	default:
//		return 0;
//	}
}

static uint8_t get_server_constant_tracker_status(int status)
{
	if (status & (SYS_STATUS_SENSOR_ERROR | SYS_STATUS_SYSTEM_ERROR))
		return SVR_STATUS_ERROR;
	else
		return SVR_STATUS_OK;
}

// https://stackoverflow.com/questions/11697820/how-to-use-date-and-time-predefined-macros-in-as-two-integers-then-stri
#define COMPUTE_BUILD_YEAR \
	( \
		(__DATE__[ 7] - '0') * 1000 + \
		(__DATE__[ 8] - '0') *  100 + \
		(__DATE__[ 9] - '0') *   10 + \
		(__DATE__[10] - '0') \
	)

#define COMPUTE_BUILD_DAY \
	( \
		((__DATE__[4] >= '0') ? (__DATE__[4] - '0') * 10 : 0) + \
		(__DATE__[5] - '0') \
	)

#define BUILD_MONTH_IS_JAN (__DATE__[0] == 'J' && __DATE__[1] == 'a' && __DATE__[2] == 'n')
#define BUILD_MONTH_IS_FEB (__DATE__[0] == 'F')
#define BUILD_MONTH_IS_MAR (__DATE__[0] == 'M' && __DATE__[1] == 'a' && __DATE__[2] == 'r')
#define BUILD_MONTH_IS_APR (__DATE__[0] == 'A' && __DATE__[1] == 'p')
#define BUILD_MONTH_IS_MAY (__DATE__[0] == 'M' && __DATE__[1] == 'a' && __DATE__[2] == 'y')
#define BUILD_MONTH_IS_JUN (__DATE__[0] == 'J' && __DATE__[1] == 'u' && __DATE__[2] == 'n')
#define BUILD_MONTH_IS_JUL (__DATE__[0] == 'J' && __DATE__[1] == 'u' && __DATE__[2] == 'l')
#define BUILD_MONTH_IS_AUG (__DATE__[0] == 'A' && __DATE__[1] == 'u')
#define BUILD_MONTH_IS_SEP (__DATE__[0] == 'S')
#define BUILD_MONTH_IS_OCT (__DATE__[0] == 'O')
#define BUILD_MONTH_IS_NOV (__DATE__[0] == 'N')
#define BUILD_MONTH_IS_DEC (__DATE__[0] == 'D')

#define COMPUTE_BUILD_MONTH \
	( \
		(BUILD_MONTH_IS_JAN) ?  1 : \
		(BUILD_MONTH_IS_FEB) ?  2 : \
		(BUILD_MONTH_IS_MAR) ?  3 : \
		(BUILD_MONTH_IS_APR) ?  4 : \
		(BUILD_MONTH_IS_MAY) ?  5 : \
		(BUILD_MONTH_IS_JUN) ?  6 : \
		(BUILD_MONTH_IS_JUL) ?  7 : \
		(BUILD_MONTH_IS_AUG) ?  8 : \
		(BUILD_MONTH_IS_SEP) ?  9 : \
		(BUILD_MONTH_IS_OCT) ? 10 : \
		(BUILD_MONTH_IS_NOV) ? 11 : \
		(BUILD_MONTH_IS_DEC) ? 12 : \
		/* error default */  99 \
	)

#define COMPUTE_BUILD_HOUR ((__TIME__[0] - '0') * 10 + __TIME__[1] - '0')
#define COMPUTE_BUILD_MIN  ((__TIME__[3] - '0') * 10 + __TIME__[4] - '0')
#define COMPUTE_BUILD_SEC  ((__TIME__[6] - '0') * 10 + __TIME__[7] - '0')

#define BUILD_DATE_IS_BAD (__DATE__[0] == '?')

#define BUILD_YEAR  ((BUILD_DATE_IS_BAD) ? 99 : COMPUTE_BUILD_YEAR)
#define BUILD_MONTH ((BUILD_DATE_IS_BAD) ? 99 : COMPUTE_BUILD_MONTH)
#define BUILD_DAY   ((BUILD_DATE_IS_BAD) ? 99 : COMPUTE_BUILD_DAY)

#define BUILD_TIME_IS_BAD (__TIME__[0] == '?')

#define BUILD_HOUR  ((BUILD_TIME_IS_BAD) ? 99 :  COMPUTE_BUILD_HOUR)
#define BUILD_MIN   ((BUILD_TIME_IS_BAD) ? 99 :  COMPUTE_BUILD_MIN)
#define BUILD_SEC   ((BUILD_TIME_IS_BAD) ? 99 :  COMPUTE_BUILD_SEC)

#define BUILD_TIMESTAMP (((((((BUILD_YEAR - 2020) & 127) * 12 + (BUILD_MONTH & 15)) * 31 + (BUILD_DAY & 31)) * 24 + (BUILD_HOUR & 24)) * 60 + (BUILD_MIN & 60)) * 60 + (BUILD_SEC & 60))

#define TOSTRING(x) STRINGIFY(x)

#define FW_STRING FW_NAME " " APP_VERSION_EXTENDED_STRING " "\
	"(Commit " TOSTRING(APP_BUILD_VERSION) ", Build %d-%02d-%02d %02d:%02d:%02d)\n",\
	BUILD_YEAR, BUILD_MONTH, BUILD_DAY, BUILD_HOUR, BUILD_MIN, BUILD_SEC
```

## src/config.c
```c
#include "globals.h"
#include "system/system.h"

#include "config.h"

#if DT_NODE_HAS_STATUS_OKAY(DT_ALIAS(retainedmemdevice))
#define MEMORY_REGION DT_PARENT(DT_ALIAS(retainedmemdevice))
#else
#error "retained_mem region not defined"
#endif

#define RETAINED_SETTINGS_OFFSET offsetof(struct retained_data, settings)

struct config_settings_data *config_settings = (struct config_settings_data *)(DT_REG_ADDR(MEMORY_REGION) + RETAINED_SETTINGS_OFFSET);

const uint16_t config_settings_count[] = {
	CONFIG_0_SETTINGS_END,
	CONFIG_1_SETTINGS_END,
	CONFIG_2_SETTINGS_END,
	CONFIG_3_SETTINGS_END
};

const char *config_settings_names[] = {
	"user_extra_actions", // 0
	"ignore_reset",
	"user_shutdown",
	"use_imu_wake_up",
	"delay_sleep_on_status",
	"connection_over_hid",
	"connection_over_uart",
	"radio_1mbps",
	"sensor_use_low_power_2", // 1
	"use_imu_timeout",
	"use_active_timeout",
	"sensor_use_mag",
	"use_sensor_clock",
	"sensor_use_6_side_calibration",
	"led_default_color_r", // 2
	"led_default_color_g",
	"led_default_color_b",
	"active_timeout_mode",
	"sensor_accel_odr",
	"sensor_gyro_odr",
	"sensor_accel_fs",
	"sensor_gyro_fs",
	"sensor_fusion",
	"radio_tx_power",
	"wired_mode",
	"connection_timeout_delay", // 3
	"sensor_lp_timeout",
	"imu_timeout_ramp_min",
	"imu_timeout_ramp_max",
	"active_timeout_threshold",
	"active_timeout_delay",
	"battery_low_runtime_threshold"
};

const bool config_0_settings_defaults[16] = {
	IS_ENABLED(CONFIG_USER_EXTRA_ACTIONS),
	IS_ENABLED(CONFIG_IGNORE_RESET),
	IS_ENABLED(CONFIG_USER_SHUTDOWN),
	IS_ENABLED(CONFIG_USE_IMU_WAKE_UP),
	IS_ENABLED(CONFIG_DELAY_SLEEP_ON_STATUS),
	IS_ENABLED(CONFIG_CONNECTION_OVER_HID),
	IS_ENABLED(CONFIG_CONNECTION_OVER_UART),
	IS_ENABLED(CONFIG_RADIO_1MBPS),
};

const bool config_1_settings_defaults[16] = {
	IS_ENABLED(CONFIG_SENSOR_USE_LOW_POWER_2),
	IS_ENABLED(CONFIG_USE_IMU_TIMEOUT),
	IS_ENABLED(CONFIG_USE_ACTIVE_TIMEOUT),
	IS_ENABLED(CONFIG_SENSOR_USE_MAG),
	IS_ENABLED(CONFIG_USE_SENSOR_CLOCK),
	IS_ENABLED(CONFIG_SENSOR_USE_6_SIDE_CALIBRATION),
};

const int16_t config_2_settings_defaults[16] = {
#ifdef CONFIG_LED_DEFAULT_COLOR_R
	CONFIG_LED_DEFAULT_COLOR_R, // 0-10000
#else
	4000,
#endif
#ifdef CONFIG_LED_DEFAULT_COLOR_G
	CONFIG_LED_DEFAULT_COLOR_G, // 0-10000
#else
	6000,
#endif
#ifdef CONFIG_LED_DEFAULT_COLOR_B
	CONFIG_LED_DEFAULT_COLOR_B, // 0-10000
#else
	0,
#endif
#if CONFIG_SHUTDOWN_ON_ACTIVE_TIMEOUT
	1,
#else // CONFIG_SLEEP_ON_ACTIVE_TIMEOUT
	0,
#endif
	CONFIG_SENSOR_ACCEL_ODR, // 0-3200 (e.g.)
	CONFIG_SENSOR_GYRO_ODR, // 0-3200 (e.g.)
	CONFIG_SENSOR_ACCEL_FS, // 0-32000 (e.g.)
	CONFIG_SENSOR_GYRO_FS, // 0-32000 (e.g.)
#if CONFIG_SENSOR_USE_VQF
	3,
#elif CONFIG_SENSOR_USE_NXPSENSORFUSION
	2,
#elif CONFIG_SENSOR_USE_XIOFUSION
	1,
#else
	0,
#endif
	CONFIG_RADIO_TX_POWER, // -128-127
#ifdef CONFIG_WIRED_MODE
	CONFIG_WIRED_MODE,
#else
	0,
#endif
};

const int32_t config_3_settings_defaults[16] = {
#ifdef CONFIG_CONNECTION_TIMEOUT_DELAY
	CONFIG_CONNECTION_TIMEOUT_DELAY,
#else
	300000,
#endif
	CONFIG_SENSOR_LP_TIMEOUT,
#ifdef CONFIG_IMU_TIMEOUT_RAMP_MIN
	CONFIG_IMU_TIMEOUT_RAMP_MIN,
#else
	5000,
#endif
#ifdef CONFIG_IMU_TIMEOUT_RAMP_MAX
	CONFIG_IMU_TIMEOUT_RAMP_MAX,
#else
	15000,
#endif
#ifdef CONFIG_ACTIVE_TIMEOUT_THRESHOLD
	CONFIG_ACTIVE_TIMEOUT_THRESHOLD,
#else
	15000,
#endif
#ifdef CONFIG_ACTIVE_TIMEOUT_DELAY
	CONFIG_ACTIVE_TIMEOUT_DELAY,
#else
	900000,
#endif
	CONFIG_BATTERY_LOW_RUNTIME_THRESHOLD,
};

LOG_MODULE_REGISTER(config, LOG_LEVEL_DBG);

void config_settings_init(void)
{
	for (int i = 0; i < 16; i++)
	{
		uint16_t write_mask = 1 << i;
		if (!(config_settings->config_0_ovrd & write_mask))
		{
			if (config_0_settings_defaults[i])
				config_settings->config_0_settings |= write_mask;
			else
				config_settings->config_0_settings &= ~write_mask;
		}
		if (!(config_settings->config_1_ovrd & write_mask))
		{
			if (config_1_settings_defaults[i])
				config_settings->config_1_settings |= write_mask;
			else
				config_settings->config_1_settings &= ~write_mask;
		}
		if (!(config_settings->config_2_ovrd & write_mask))
			config_settings->config_2_settings[i] = config_2_settings_defaults[i];
		if (!(config_settings->config_3_ovrd & write_mask))
			config_settings->config_3_settings[i] = config_3_settings_defaults[i];
	}
}

void config_0_settings_write(uint16_t id, bool value)
{
	uint16_t write_mask = 1 << id;

	config_settings->config_0_ovrd |= write_mask;

	if (value)
		config_settings->config_0_settings |= write_mask;
	else
		config_settings->config_0_settings &= ~write_mask;

	sys_write(SETTINGS_ID, NULL, retained->settings, sizeof(retained->settings));
}

void config_1_settings_write(uint16_t id, bool value)
{
	uint16_t write_mask = 1 << id;

	config_settings->config_1_ovrd |= write_mask;

	if (value)
		config_settings->config_1_settings |= write_mask;
	else
		config_settings->config_1_settings &= ~write_mask;

	sys_write(SETTINGS_ID, NULL, retained->settings, sizeof(retained->settings));
}

void config_2_settings_write(uint16_t id, int16_t value)
{
	uint16_t write_mask = 1 << id;

	config_settings->config_2_ovrd |= write_mask;

	config_settings->config_2_settings[id] = value;

	sys_write(SETTINGS_ID, NULL, retained->settings, sizeof(retained->settings));
}

void config_3_settings_write(uint16_t id, int32_t value)
{
	uint16_t write_mask = 1 << id;

	config_settings->config_3_ovrd |= write_mask;

	config_settings->config_3_settings[id] = value;

	sys_write(SETTINGS_ID, NULL, retained->settings, sizeof(retained->settings));
}

void config_settings_reset(uint16_t config, uint16_t id)
{
	uint16_t write_mask = 1 << id;

	switch (config)
	{
	case 0:
		config_settings->config_0_ovrd &= ~write_mask;
		break;
	case 1:
		config_settings->config_1_ovrd &= ~write_mask;
		break;
	case 2:
		config_settings->config_2_ovrd &= ~write_mask;
		break;
	case 3:
		config_settings->config_3_ovrd &= ~write_mask;
		break;
	default:
	}

	config_settings_init(); // reset non-overridden value

	sys_write(SETTINGS_ID, NULL, retained->settings, sizeof(retained->settings));
}

void config_settings_reset_all(void)
{
	static bool reset_confirm = false;
	if (!reset_confirm)
	{
		printk("Resetting device settings will clear all user-defined settings to the firmware defaults. Please resend the command to confirm.\n");
		reset_confirm = true;
		return;
	}
	printk("Resetting device settings\n");

	config_settings->config_0_ovrd = 0;
	config_settings->config_1_ovrd = 0;
	config_settings->config_2_ovrd = 0;
	config_settings->config_3_ovrd = 0;

	config_settings_init(); // reset non-overridden value

	sys_write(SETTINGS_ID, NULL, retained->settings, sizeof(retained->settings));
	reset_confirm = false;
	LOG_INF("Device settings reset");
}
```
